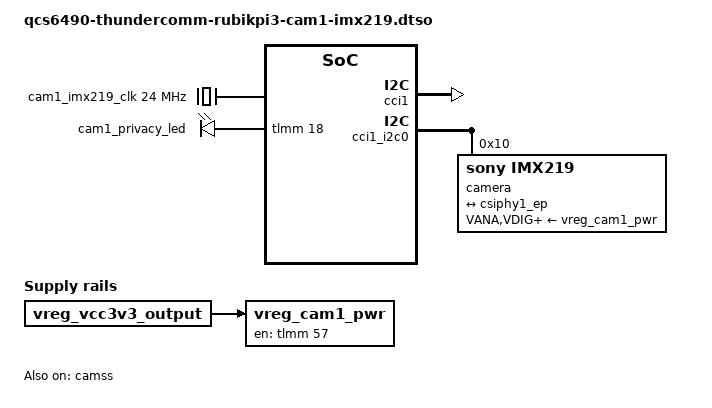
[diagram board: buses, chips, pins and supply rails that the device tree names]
// SPDX-License-Identifier: BSD-3-Clause
/*
 * Copyright (c) 2026, Thundercomm All rights reserved.
 */

/dts-v1/;
/plugin/;

#include <dt-bindings/gpio/gpio.h>
#include <dt-bindings/leds/common.h>

&{/} {
	cam1_imx219_clk: clock-camera1-24m {
		compatible = "fixed-clock";
		#clock-cells = <0>;
		clock-frequency = <24000000>;
	};

	leds-camera1 {
		compatible = "gpio-leds";

		pinctrl-0 = <&cam1_privacy_led_state>;
		pinctrl-names = "default";

		cam1_privacy_led: led-camera1 {
			function = LED_FUNCTION_INDICATOR;
			function-enumerator = <1>;
			gpios = <&tlmm 18 GPIO_ACTIVE_HIGH>;
			default-state = "off";
		};
	};

	/* Camera module power domain controlled through connector PWR_EN. */
	vreg_cam1_pwr: regulator-camera1-pwr {
		compatible = "regulator-fixed";

		regulator-name = "vreg_camera1_pwr";

		gpio = <&tlmm 57 GPIO_ACTIVE_HIGH>;
		enable-active-high;

		pinctrl-0 = <&cam1_pwr_en>;
		pinctrl-names = "default";

		vin-supply = <&vreg_vcc3v3_output>;
	};
};

&camss {
	vdda-phy-supply = <&vreg_l10c_0p88>;
	vdda-pll-supply = <&vreg_l6b_1p2>;

	status = "okay";

	ports {
		#address-cells = <1>;
		#size-cells = <0>;

		port@1 {
			reg = <1>;

			csiphy1_ep: endpoint {
				data-lanes = <0 1>;
				remote-endpoint = <&cam1_imx219_ep>;
			};
		};
	};
};

&cci1 {
	status = "okay";
};

&cci1_i2c0 {
	#address-cells = <1>;
	#size-cells = <0>;

	camera@10 {
		compatible = "sony,imx219";
		reg = <0x10>;

		clocks = <&cam1_imx219_clk>;

		VANA-supply = <&vreg_cam1_pwr>;
		VDIG-supply = <&vreg_cam1_pwr>;
		VDDL-supply = <&vreg_cam1_pwr>;

		leds = <&cam1_privacy_led>;
		led-names = "privacy";

		port {
			cam1_imx219_ep: endpoint {
				data-lanes = <1 2>;
				link-frequencies = /bits/ 64 <456000000>;
				remote-endpoint = <&csiphy1_ep>;
			};
		};
	};
};

&tlmm {
	cam1_privacy_led_state: cam1-privacy-led-state {
		pins = "gpio18";
		function = "gpio";
		drive-strength = <8>;
		bias-disable;
	};

	cam1_pwr_en: cam1-pwr-en-state {
		pins = "gpio57";
		function = "gpio";
		drive-strength = <8>;
		bias-disable;
	};
};
